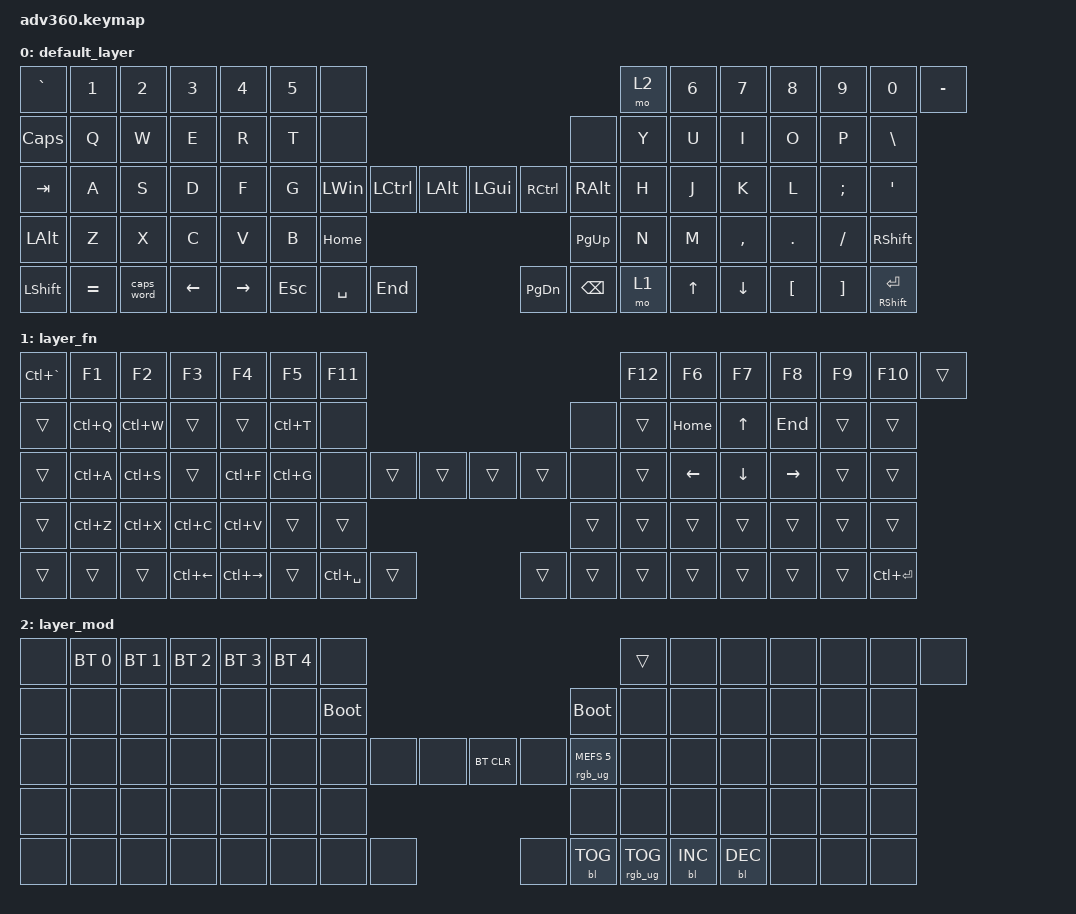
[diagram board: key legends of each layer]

/*
 * Copyright (c) 2020 The ZMK Contributors
 *
 * SPDX-License-Identifier: MIT
 */


/* THIS FILE WAS GENERATED!
 *
 * This file was generated automatically. You may or may not want to
 * edit it directly.
 */

#include <behaviors.dtsi>
#include <dt-bindings/zmk/keys.h>
#include <dt-bindings/zmk/bt.h>
#include <dt-bindings/zmk/rgb.h>
#include <dt-bindings/zmk/backlight.h>

/ {
  behaviors {
    #include "macros.dtsi"
    #include "version.dtsi"

    hm: homerow_mods {
        compatible = "zmk,behavior-hold-tap";
        label = "HOMEROW_MODS";
        #binding-cells = <2>;
        tapping-term-ms = <200>;
        quick_tap_ms = <175>;
        flavor = "tap-preferred";
        bindings = <&kp>, <&kp>;
    };
  };

    keymap {
        compatible = "zmk,keymap";


        default_layer {
            bindings = <
      &kp GRAVE     &kp N1      &kp N2    &kp N3     &kp N4  &kp N5                   &none                                                                     &mo 2  &kp N6  &kp N7     &kp N8    &kp N9    &kp N0              &kp MINUS
       &kp CAPS      &kp Q       &kp W     &kp E      &kp R   &kp T                   &none                                                                     &none   &kp Y   &kp U      &kp I     &kp O     &kp P               &kp BSLH
        &kp TAB      &kp A       &kp S     &kp D      &kp F   &kp G            &kp LEFT_WIN  &kp LCTRL  &kp LALT                   &kp LGUI  &kp RCTRL  &kp RIGHT_ALT   &kp H   &kp J      &kp K     &kp L  &kp SEMI                &kp SQT
   &kp LEFT_ALT      &kp Z       &kp X     &kp C      &kp V   &kp B                                     &kp HOME                  &kp PG_UP                             &kp N   &kp M  &kp COMMA   &kp DOT  &kp FSLH              &kp RSHFT
 &kp LEFT_SHIFT  &kp EQUAL  &caps_word  &kp LEFT  &kp RIGHT                         &kp ESC  &kp SPACE   &kp END                  &kp PG_DN   &kp BSPC          &mo 1          &kp UP   &kp DOWN  &kp LBKT  &kp RBKT  &mt RIGHT_SHIFT ENTER
            >;
        };

        layer_fn {
            bindings = <
 &kp LC(GRAVE)     &kp F1     &kp F2              &kp F3               &kp F4     &kp F5            &kp F11                                                         &kp F12  &kp F6          &kp F7          &kp F8           &kp F9  &kp F10         &trans
        &trans  &kp LC(Q)  &kp LC(W)              &trans               &trans  &kp LC(T)              &none                                                           &none  &trans        &kp HOME    &kp UP_ARROW          &kp END   &trans         &trans
        &trans  &kp LC(A)  &kp LC(S)              &trans            &kp LC(F)  &kp LC(G)              &none         &trans  &trans                  &trans  &trans    &none  &trans  &kp LEFT_ARROW  &kp DOWN_ARROW  &kp RIGHT_ARROW   &trans         &trans
        &trans  &kp LC(Z)  &kp LC(X)           &kp LC(C)            &kp LC(V)     &trans                                    &trans                  &trans                   &trans          &trans          &trans           &trans   &trans         &trans
        &trans     &trans     &trans  &kp LC(LEFT_ARROW)  &kp LC(RIGHT_ARROW)                        &trans  &kp LC(SPACE)  &trans                  &trans  &trans   &trans                  &trans          &trans           &trans   &trans  &kp LC(ENTER)
            >;
        };

        layer_mod {
            bindings = <
  &none  &bt BT_SEL 0  &bt BT_SEL 1  &bt BT_SEL 2  &bt BT_SEL 3  &bt BT_SEL 4                  &none                                                                          &trans   &none       &none       &none   &none   &none   &none
  &none         &none         &none         &none         &none         &none            &bootloader                                                                     &bootloader   &none       &none       &none   &none   &none   &none
  &none         &none         &none         &none         &none         &none                  &none   &none   &none                  &bt BT_CLR       &none  &rgb_ug RGB_MEFS_CMD 5   &none       &none       &none   &none   &none   &none
  &none         &none         &none         &none         &none         &none                                  &none                       &none                                       &none       &none       &none   &none   &none   &none
  &none         &none         &none         &none         &none                                &none   &none   &none                       &none  &bl BL_TOG         &rgb_ug RGB_TOG          &bl BL_INC  &bl BL_DEC   &none   &none   &none
            >;
        };

    };
};
